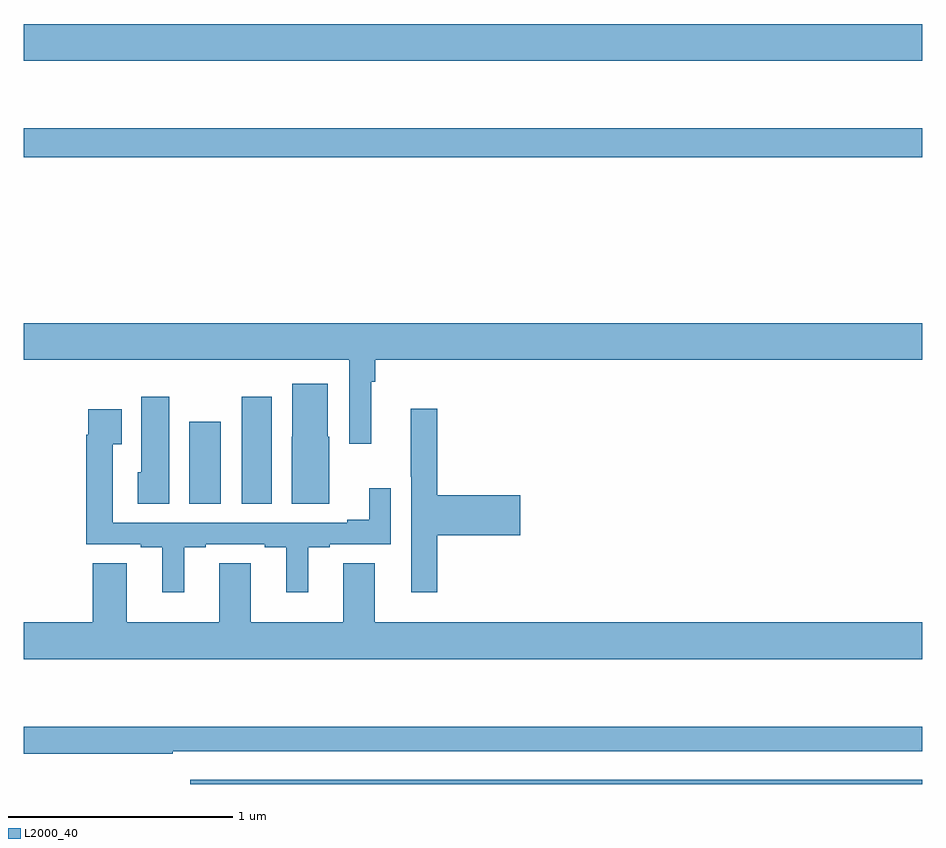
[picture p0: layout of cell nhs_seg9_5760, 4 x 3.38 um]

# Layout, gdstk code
import gdstk
lib = gdstk.Library(unit=1e-6, precision=1e-09)
def R(c, l, rs):  # rectangles x0, y0, x1, y1
    for r in rs: c.add(gdstk.rectangle(r[:2], r[2:], *l))
def P(c, l, *ps):  # polygons
    for p in ps: c.add(gdstk.Polygon(p, *l))
L2000_40 = (2000, 40)

nhs_seg9_5760 = lib.new_cell('nhs_seg9_5760')
R(nhs_seg9_5760, L2000_40, [(445.741,1226.5,449,1226.52), (445.736,1227.748,445.876,1228.114), (445.97,1227.748,446.104,1228.225), (445,1229.29,449,1229.419), (445,1229.72,449,1229.884)])
P(nhs_seg9_5760, L2000_40, [(446.546,1228.292),(446.564,1228.292),(446.564,1228.388),(449,1228.388),(449,1228.552),(445,1228.552),(445,1228.388),(446.448,1228.388),(446.448,1228.014),(446.546,1228.014)],
  [(446.359,1228.047),(446.353,1228.047),(446.353,1228.282),(446.195,1228.282),(446.195,1228.047),(446.192,1228.047),(446.192,1227.748),(446.359,1227.748)],
  [(445.648,1228.225),(445.523,1228.225),(445.523,1227.888),(445.508,1227.888),(445.508,1227.748),(445.648,1227.748)],
  [(446.84,1227.607),(447.211,1227.607),(447.211,1227.785),(446.84,1227.785),(446.84,1228.171),(446.723,1228.171),(446.723,1227.868),(446.724,1227.868),(446.724,1227.354),(446.84,1227.354)],
  [(445.714,1227.555),(445.81,1227.555),(445.81,1227.567),(446.072,1227.567),(446.072,1227.555),(446.168,1227.555),(446.168,1227.354),(446.266,1227.354),(446.266,1227.555),(446.362,1227.555),(446.362,1227.567),(446.634,1227.567),(446.634,1227.817),(446.537,1227.817),(446.537,1227.676),(446.441,1227.676),(446.441,1227.663),(445.395,1227.663),(445.395,1228.012),(445.435,1228.012),(445.435,1228.168),(445.287,1228.168),(445.287,1228.055),(445.279,1228.055),(445.279,1227.567),(445.52,1227.567),(445.52,1227.555),(445.616,1227.555),(445.616,1227.354),(445.714,1227.354)],
  [(449,1227.22),(446.563,1227.22),(446.563,1227.482),(446.423,1227.482),(446.423,1227.22),(446.011,1227.22),(446.011,1227.482),(445.871,1227.482),(445.871,1227.22),(445.459,1227.22),(445.459,1227.482),(445.307,1227.482),(445.307,1227.22),(445,1227.22),(445,1227.056),(449,1227.056)],
  [(445.664,1226.646),(449,1226.646),(449,1226.755),(445,1226.755),(445,1226.634),(445.664,1226.634)])

lib.write_gds('nhs_seg9_5760.gds')
